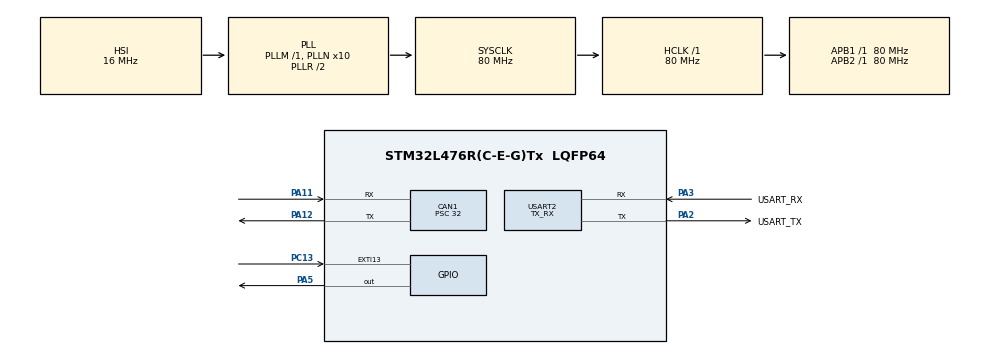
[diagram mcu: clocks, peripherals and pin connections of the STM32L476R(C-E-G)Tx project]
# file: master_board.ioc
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CAN1.BS1=CAN_BS1_2TQ
CAN1.CalculateBaudRate=625000
CAN1.CalculateTimeBit=1600
CAN1.CalculateTimeQuantum=400.0
CAN1.Mode=CAN_MODE_LOOPBACK
CAN1.NART=ENABLE
CAN1.Prescaler=32
Dma.Request0=USART2_RX
Dma.Request1=USART2_TX
Dma.USART2_RX.0.Direction=DMA_PERIPH_TO_MEMORY
Dma.USART2_RX.0.Instance=DMA1_Channel6
Dma.USART2_RX.0.MemDataAlignment=DMA_MDATAALIGN_BYTE
Dma.USART2_RX.0.MemInc=DMA_MINC_ENABLE
Dma.USART2_RX.0.Mode=DMA_NORMAL
Dma.USART2_RX.0.PeriphDataAlignment=DMA_PDATAALIGN_BYTE
Dma.USART2_RX.0.PeriphInc=DMA_PINC_DISABLE
Dma.USART2_RX.0.Priority=DMA_PRIORITY_HIGH
Dma.USART2_TX.1.Direction=DMA_MEMORY_TO_PERIPH
Dma.USART2_TX.1.Instance=DMA1_Channel7
Dma.USART2_TX.1.MemDataAlignment=DMA_MDATAALIGN_BYTE
Dma.USART2_TX.1.MemInc=DMA_MINC_ENABLE
Dma.USART2_TX.1.Mode=DMA_NORMAL
Dma.USART2_TX.1.PeriphDataAlignment=DMA_PDATAALIGN_BYTE
Dma.USART2_TX.1.PeriphInc=DMA_PINC_DISABLE
Dma.USART2_TX.1.Priority=DMA_PRIORITY_HIGH
FREERTOS.Tasks01=defaultTask,24,128,StartDefaultTask,Default,NULL,Dynamic,NULL,NULL
Mcu.Family=STM32L4
Mcu.Name=STM32L476R(C-E-G)Tx
Mcu.Package=LQFP64
NUCLEO-L476RG.BUTTON=1
NUCLEO-L476RG.LD2=true
NVIC.CAN1_RX0_IRQn=true\:5\:0\:false\:false\:true\:true\:true\:true\:true
NVIC.CAN1_RX1_IRQn=true\:5\:0\:false\:false\:true\:true\:true\:true\:true
NVIC.CAN1_TX_IRQn=true\:5\:0\:false\:false\:true\:true\:true\:true\:true
NVIC.DMA1_Channel6_IRQn=true\:5\:0\:false\:false\:true\:true\:false\:true\:true
NVIC.DMA1_Channel7_IRQn=true\:5\:0\:false\:false\:true\:true\:false\:true\:true
NVIC.EXTI15_10_IRQn=true\:5\:0\:false\:false\:true\:true\:false\:true\:true
NVIC.PriorityGroup=NVIC_PRIORITYGROUP_4
NVIC.TIM3_IRQn=true\:15\:0\:false\:false\:true\:false\:false\:true\:true
NVIC.TimeBase=TIM3_IRQn
NVIC.TimeBaseIP=TIM3
NVIC.USART2_IRQn=true\:5\:0\:false\:false\:true\:true\:true\:true\:true
PA11.Mode=CAN_Activate
PA11.Signal=CAN1_RX
PA12.Mode=CAN_Activate
PA12.Signal=CAN1_TX
PA13\ (JTMS-SWDIO).GPIO_Label=TMS
PA13\ (JTMS-SWDIO).Signal=SYS_JTMS-SWDIO
PA14\ (JTCK-SWCLK).GPIO_Label=TCK
PA14\ (JTCK-SWCLK).Signal=SYS_JTCK-SWCLK
PA2.GPIO_Label=USART_TX
PA2.GPIO_Mode=GPIO_MODE_AF_PP
PA2.GPIO_PuPd=GPIO_NOPULL
PA2.GPIO_Speed=GPIO_SPEED_FREQ_VERY_HIGH
PA2.Mode=Asynchronous
PA2.Signal=USART2_TX
PA3.GPIO_Label=USART_RX
PA3.GPIO_Mode=GPIO_MODE_AF_PP
PA3.GPIO_PuPd=GPIO_NOPULL
PA3.GPIO_Speed=GPIO_SPEED_FREQ_VERY_HIGH
PA3.Mode=Asynchronous
PA3.Signal=USART2_RX
PA5.Signal=GPIO_Output
PB3\ (JTDO-TRACESWO).GPIO_Label=SWO
PB3\ (JTDO-TRACESWO).Signal=SYS_JTDO-SWO
PC13.Signal=GPXTI13
PC14-OSC32_IN\ (PC14).Signal=RCC_OSC32_IN
PC15-OSC32_OUT\ (PC15).Signal=RCC_OSC32_OUT
PH0-OSC_IN\ (PH0).Signal=RCC_OSC_IN
PH1-OSC_OUT\ (PH1).Signal=RCC_OSC_OUT
ProjectManager.HeapSize=0x200
ProjectManager.StackSize=0x400
ProjectManager.TargetToolchain=STM32CubeIDE
RCC.ADCFreq_Value=64000000
RCC.AHBFreq_Value=80000000
RCC.APB1Freq_Value=80000000
RCC.APB1TimFreq_Value=80000000
RCC.APB2Freq_Value=80000000
RCC.APB2TimFreq_Value=80000000
RCC.CortexFreq_Value=80000000
RCC.HCLKFreq_Value=80000000
RCC.HSE_VALUE=8000000
RCC.HSI_VALUE=16000000
RCC.LSE_VALUE=32768
RCC.MSI_VALUE=4000000
RCC.PLLN=10
RCC.PLLSourceVirtual=RCC_PLLSOURCE_HSI
RCC.PREFETCH_ENABLE=1
RCC.SYSCLKFreq_VALUE=80000000
RCC.SYSCLKSource=RCC_SYSCLKSOURCE_PLLCLK
RCC.USBFreq_Value=64000000
RCC.VCOOutputFreq_Value=160000000
USART2.Mode=MODE_TX_RX
USART2.VirtualMode-Asynchronous=VM_ASYNC
VP_FREERTOS_VS_CMSIS_V2.Mode=CMSIS_V2
VP_NUCLEO-L476RG_VS_BSP_COMMON.Mode=COMMON
VP_SYS_VS_tim3.Mode=TIM3
board=NUCLEO-L476RG

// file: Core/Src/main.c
/* USER CODE BEGIN Header */
/**
  ******************************************************************************
  * @file           : main.c
  * @brief          : Main program body
  ******************************************************************************
  * @attention
  *
  * Copyright (c) 2026 STMicroelectronics.
  * All rights reserved.
  *
  * This software is licensed under terms that can be found in the LICENSE file
  * in the root directory of this software component.
  * If no LICENSE file comes with this software, it is provided AS-IS.
  *
  ******************************************************************************
  */
/* USER CODE END Header */
#include "main.h"
#include "cmsis_os.h"
#include "can.h"
#include "dma.h"
#include "usart.h"
#include "gpio.h"

void SystemClock_Config(void);
void MX_FREERTOS_Init(void);

int main(void)
{

  /* MCU Configuration--------------------------------------------------------*/

  /* Reset of all peripherals, Initializes the Flash interface and the Systick. */
  HAL_Init();

  /* Configure the system clock */
  SystemClock_Config();

  /* Initialize all configured peripherals */
  MX_GPIO_Init();
  MX_DMA_Init();
  MX_USART2_UART_Init();
  MX_CAN1_Init();

  /* Init scheduler */
  osKernelInitialize();  /* Call init function for freertos objects (in cmsis_os2.c) */
  MX_FREERTOS_Init();

  /* Initialize leds */
  BSP_LED_Init(LED_GREEN);

  /* Initialize USER push-button, will be used to trigger an interrupt each time it's pressed.*/
  BSP_PB_Init(BUTTON_USER, BUTTON_MODE_EXTI);

  /* Start scheduler */
  osKernelStart();

  /* We should never get here as control is now taken by the scheduler */

  /* Infinite loop */
  while (1)
  {

  }
}

void SystemClock_Config(void)
{
  RCC_OscInitTypeDef RCC_OscInitStruct = {0};
  RCC_ClkInitTypeDef RCC_ClkInitStruct = {0};

  /** Configure the main internal regulator output voltage
  */
  if (HAL_PWREx_ControlVoltageScaling(PWR_REGULATOR_VOLTAGE_SCALE1) != HAL_OK)
  {
    Error_Handler();
  }

  /** Initializes the RCC Oscillators according to the specified parameters
  * in the RCC_OscInitTypeDef structure.
  */
  RCC_OscInitStruct.OscillatorType = RCC_OSCILLATORTYPE_HSI;
  RCC_OscInitStruct.HSIState = RCC_HSI_ON;
  RCC_OscInitStruct.HSICalibrationValue = RCC_HSICALIBRATION_DEFAULT;
  RCC_OscInitStruct.PLL.PLLState = RCC_PLL_ON;
  RCC_OscInitStruct.PLL.PLLSource = RCC_PLLSOURCE_HSI;
  RCC_OscInitStruct.PLL.PLLM = 1;
  RCC_OscInitStruct.PLL.PLLN = 10;
  RCC_OscInitStruct.PLL.PLLP = RCC_PLLP_DIV7;
  RCC_OscInitStruct.PLL.PLLQ = RCC_PLLQ_DIV2;
  RCC_OscInitStruct.PLL.PLLR = RCC_PLLR_DIV2;
  if (HAL_RCC_OscConfig(&RCC_OscInitStruct) != HAL_OK)
  {
    Error_Handler();
  }

  /** Initializes the CPU, AHB and APB buses clocks
  */
  RCC_ClkInitStruct.ClockType = RCC_CLOCKTYPE_HCLK|RCC_CLOCKTYPE_SYSCLK
                              |RCC_CLOCKTYPE_PCLK1|RCC_CLOCKTYPE_PCLK2;
  RCC_ClkInitStruct.SYSCLKSource = RCC_SYSCLKSOURCE_PLLCLK;
  RCC_ClkInitStruct.AHBCLKDivider = RCC_SYSCLK_DIV1;
  RCC_ClkInitStruct.APB1CLKDivider = RCC_HCLK_DIV1;
  RCC_ClkInitStruct.APB2CLKDivider = RCC_HCLK_DIV1;

  if (HAL_RCC_ClockConfig(&RCC_ClkInitStruct, FLASH_LATENCY_4) != HAL_OK)
  {
    Error_Handler();
  }
}

void HAL_TIM_PeriodElapsedCallback(TIM_HandleTypeDef *htim)
{
  if (htim->Instance == TIM3)
  {
    HAL_IncTick();
  }
}

void Error_Handler(void)
{
  __disable_irq();
  while (1)
  {
  }
}

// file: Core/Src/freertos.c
/* USER CODE BEGIN Header */
/**
  ******************************************************************************
  * File Name          : freertos.c
  * Description        : Code for freertos applications
  ******************************************************************************
  * @attention
  *
  * Copyright (c) 2026 STMicroelectronics.
  * All rights reserved.
  *
  * This software is licensed under terms that can be found in the LICENSE file
  * in the root directory of this software component.
  * If no LICENSE file comes with this software, it is provided AS-IS.
  *
  ******************************************************************************
  */
/* USER CODE END Header */

#include "FreeRTOS.h"
#include "task.h"
#include "main.h"
#include "cmsis_os.h"

/* USER CODE BEGIN Includes */
#include "task_uart_dma.h"
#include "task_can.h"
/* USER CODE END Includes */

/* Definitions for defaultTask */
osThreadId_t defaultTaskHandle;
const osThreadAttr_t defaultTask_attributes = {
  .name = "defaultTask",
  .stack_size = 128 * 4,
  .priority = (osPriority_t) osPriorityNormal,
};

/* USER CODE BEGIN FunctionPrototypes */
osThreadId_t UartTaskHandle;
const osThreadAttr_t UartTask_attributes = {
		.name = "UartTask",
		.stack_size = 128*16,
		.priority = (osPriority_t) osPriorityHigh2,
};
//zabawa kolejjkaim
osMessageQueueId_t QueueUartCanHandle;

const osMessageQueueAttr_t QueueUartCan_attributes = {
    .name = "QueueUartCan"
};

osMessageQueueId_t QueueCanUartHandle;
const osMessageQueueAttr_t QueueCanUart_attributes = {
    .name = "QueueCanUart"
};

osThreadId_t CanTaskHandle;
const osThreadAttr_t CanTask_attributes = {
		.name = "CanTask",
		.stack_size = 128*16,
		.priority = (osPriority_t) osPriorityHigh2,
};

osSemaphoreId_t uartsem;
const osSemaphoreAttr_t uart_sem_attr = {
        .name = "spiDmaSem"
    };

/* USER CODE END FunctionPrototypes */

void StartDefaultTask(void *argument);

void MX_FREERTOS_Init(void); /* (MISRA C 2004 rule 8.1) */

void MX_FREERTOS_Init(void) {

  /* USER CODE BEGIN RTOS_SEMAPHORES */
  /* add semaphores, ... */
	uartsem  = osSemaphoreNew(1, 1, &uart_sem_attr);

  /* USER CODE END RTOS_SEMAPHORES */

  /* USER CODE BEGIN RTOS_QUEUES */
  /* add queues, ... */
	QueueUartCanHandle = osMessageQueueNew(10, RxBuf_SIZE, &QueueUartCan_attributes);
	QueueCanUartHandle = osMessageQueueNew(10, RxBuf_SIZE, &QueueUartCan_attributes);
  /* USER CODE END RTOS_QUEUES */

  /* Create the thread(s) */
  /* creation of defaultTask */
  defaultTaskHandle = osThreadNew(StartDefaultTask, NULL, &defaultTask_attributes);

  /* USER CODE BEGIN RTOS_THREADS */
  /* add threads, ... */
  UartTaskHandle = osThreadNew(task_uart,NULL,&UartTask_attributes);
  CanTaskHandle = osThreadNew(task_can,NULL,&CanTask_attributes);
  /* USER CODE END RTOS_THREADS */

}

void StartDefaultTask(void *argument)
{
  for(;;)
  {
    osDelay(1);
  }
}
